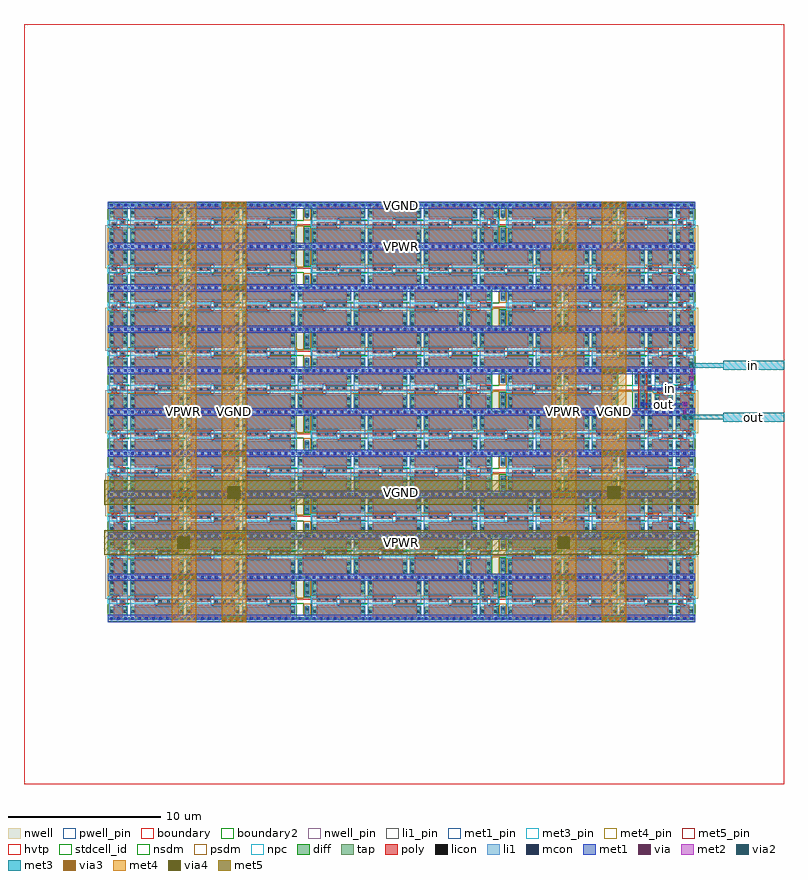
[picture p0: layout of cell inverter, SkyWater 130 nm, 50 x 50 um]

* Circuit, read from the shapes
.subckt inverter VGND VPWR in out
XM1 VGND VPWR VGND VGND sky130_fd_pr__nfet_01v8 w=0.55 l=0.59 m=23
XM2 VGND VPWR VGND VGND sky130_fd_pr__nfet_01v8 w=0.55 l=2.89 m=89
XM3 VGND VPWR VGND VGND sky130_fd_pr__nfet_01v8 w=0.55 l=1.05 m=8
XM4 out in VGND VGND sky130_fd_pr__nfet_01v8 w=0.65 l=0.15 m=2
XM5 VPWR VGND VPWR VPWR sky130_fd_pr__pfet_01v8_hvt w=0.87 l=0.59 m=23
XM6 VPWR VGND VPWR VPWR sky130_fd_pr__pfet_01v8_hvt w=0.87 l=2.89 m=89
XM7 VPWR VGND VPWR VPWR sky130_fd_pr__pfet_01v8_hvt w=0.87 l=1.05 m=8
XM8 out in VPWR VPWR sky130_fd_pr__pfet_01v8_hvt w=1 l=0.15 m=2
.ends

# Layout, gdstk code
from math import pi, radians
import gdstk
lib = gdstk.Library(unit=1e-6, precision=1e-09)
def R(c, l, rs):  # rectangles x0, y0, x1, y1
    for r in rs: c.add(gdstk.rectangle(r[:2], r[2:], *l))
def A(c, l, x, y, w, h, nx, ny, dx, dy):  # array of equal rectangles
    R(c, l, [(x+i*dx, y+j*dy, x+i*dx+w, y+j*dy+h) for i in range(nx) for j in range(ny)])
def P(c, l, *ps):  # polygons
    for p in ps: c.add(gdstk.Polygon(p, *l))
nwell_pin = (64, 16)
nwell = (64, 20)
diff = (65, 20)
tap = (65, 44)
poly = (66, 20)
licon = (66, 44)
li1_pin = (67, 16)
li1 = (67, 20)
mcon = (67, 44)
met1_pin = (68, 16)
met1 = (68, 20)
via = (68, 44)
met2 = (69, 20)
via2 = (69, 44)
met3_pin = (70, 16)
met3 = (70, 20)
via3 = (70, 44)
met4_pin = (71, 16)
met4 = (71, 20)
via4 = (71, 44)
met5_pin = (72, 16)
met5 = (72, 20)
hvtp = (78, 44)
stdcell_id = (81, 4)
nsdm = (93, 44)
psdm = (94, 20)
npc = (95, 20)
pwell_pin = (122, 16)
boundary = (235, 4)
boundary2 = (236, 0)

sky130_fd_sc_hd__decap_8 = lib.new_cell('sky130_fd_sc_hd__decap_8')
R(sky130_fd_sc_hd__decap_8, nwell_pin, [(0.145,2.635,0.315,2.805)])
R(sky130_fd_sc_hd__decap_8, nwell, [(-0.19,1.305,3.87,2.91)])
R(sky130_fd_sc_hd__decap_8, diff, [(0.135,0.235,3.545,0.785), (0.135,1.615,3.545,2.485)])
P(sky130_fd_sc_hd__decap_8, poly, [(3.285,2.615),(0.395,2.615),(0.395,1.125),(1.715,1.125),(1.715,1.485),(3.285,1.485)],
  [(3.285,1.275),(1.925,1.275),(1.925,0.915),(0.395,0.915),(0.395,0.105),(3.285,0.105)])
A(sky130_fd_sc_hd__decap_8, licon, 2.005, 1.025, 0.17, 0.17, 3, 1, 0.515, 0)
A(sky130_fd_sc_hd__decap_8, licon, 0.475, 1.205, 0.17, 0.17, 3, 1, 0.495, 0)
R(sky130_fd_sc_hd__decap_8, licon, [(0.175,0.39,0.345,0.56), (3.335,0.39,3.505,0.56), (0.175,1.745,0.345,1.915), (3.335,1.745,3.505,1.915), (0.175,2.255,0.345,2.425), (3.335,2.255,3.505,2.425)])
P(sky130_fd_sc_hd__decap_8, li1, [(3.68,0.085),(3.595,0.085),(3.595,0.855),(1.735,0.855),(1.735,1.375),(0.085,1.375),(0.085,0.085),(0,0.085),(0,-0.085),(3.68,-0.085)],
  [(3.68,2.805),(0,2.805),(0,2.635),(0.085,2.635),(0.085,1.545),(1.905,1.545),(1.905,1.025),(3.595,1.025),(3.595,2.635),(3.68,2.635)])
A(sky130_fd_sc_hd__decap_8, mcon, 0.145, -0.085, 0.17, 0.17, 8, 2, 0.46, 2.72)
R(sky130_fd_sc_hd__decap_8, met1_pin, [(0.145,-0.085,0.315,0.085), (0.145,2.635,0.315,2.805)])
R(sky130_fd_sc_hd__decap_8, hvtp, [(0,1.25,3.68,2.72)])
R(sky130_fd_sc_hd__decap_8, stdcell_id, [(0,0,3.68,2.72)])
R(sky130_fd_sc_hd__decap_8, nsdm, [(0,-0.19,3.68,1.015)])
R(sky130_fd_sc_hd__decap_8, psdm, [(0,1.485,3.68,2.91)])
P(sky130_fd_sc_hd__decap_8, npc, [(3.68,1.345),(1.735,1.345),(1.735,1.475),(0,1.475),(0,0.975),(1.905,0.975),(1.905,0.925),(3.68,0.925)])
R(sky130_fd_sc_hd__decap_8, pwell_pin, [(0.145,-0.085,0.315,0.085)])
R(sky130_fd_sc_hd__decap_8, boundary2, [(0,0,3.68,2.72)])
sky130_fd_sc_hd__decap_8.add(gdstk.FlexPath([(0,2.72),(3.68,2.72)], 0.48, ends="flush", simple_path=True, layer=68, datatype=20))  # met1
sky130_fd_sc_hd__decap_8.add(gdstk.FlexPath([(0,0),(3.68,0)], 0.48, ends="flush", simple_path=True, layer=68, datatype=20))  # met1
sky130_fd_sc_hd__decap_8.add(gdstk.Label('VPWR', (0.23,2.72), layer=68, texttype=5))
sky130_fd_sc_hd__decap_8.add(gdstk.Label('VGND', (0.23,0), layer=68, texttype=5))
sky130_fd_sc_hd__decap_8.add(gdstk.Label('VPB', (0.23,2.72), layer=64, texttype=5))
sky130_fd_sc_hd__decap_8.add(gdstk.Label('VNB', (0.23,0), layer=64, texttype=59))
sky130_fd_sc_hd__decap_8.add(gdstk.Label('decap_8', (0,0), layer=83, texttype=44))

sky130_fd_sc_hd__decap_3 = lib.new_cell('sky130_fd_sc_hd__decap_3')
R(sky130_fd_sc_hd__decap_3, nwell_pin, [(0.145,2.635,0.315,2.805)])
R(sky130_fd_sc_hd__decap_3, nwell, [(-0.19,1.305,1.57,2.91)])
R(sky130_fd_sc_hd__decap_3, diff, [(0.135,0.235,1.245,0.785), (0.135,1.615,1.245,2.485)])
P(sky130_fd_sc_hd__decap_3, poly, [(1.125,1.255),(0.795,1.255),(0.795,0.915),(0.395,0.915),(0.395,0.105),(0.985,0.105),(0.985,0.925),(1.125,0.925)],
  [(0.985,2.615),(0.395,2.615),(0.395,1.455),(0.255,1.455),(0.255,1.125),(0.585,1.125),(0.585,1.465),(0.985,1.465)])
R(sky130_fd_sc_hd__decap_3, licon, [(0.175,0.4,0.345,0.57), (1.035,0.4,1.205,0.57), (0.875,1.005,1.045,1.175), (0.335,1.205,0.505,1.375), (0.175,1.78,0.345,1.95), (1.035,1.78,1.205,1.95), (0.175,2.255,0.345,2.425), (1.035,2.255,1.205,2.425)])
P(sky130_fd_sc_hd__decap_3, li1, [(1.38,2.805),(0,2.805),(0,2.635),(0.085,2.635),(0.085,1.545),(0.775,1.545),(0.775,1.005),(1.295,1.005),(1.295,2.635),(1.38,2.635)],
  [(1.38,0.085),(1.295,0.085),(1.295,0.835),(0.605,0.835),(0.605,1.375),(0.085,1.375),(0.085,0.085),(0,0.085),(0,-0.085),(1.38,-0.085)])
A(sky130_fd_sc_hd__decap_3, mcon, 0.145, -0.085, 0.17, 0.17, 3, 2, 0.46, 2.72)
R(sky130_fd_sc_hd__decap_3, met1_pin, [(0.145,-0.085,0.315,0.085), (0.145,2.635,0.315,2.805)])
R(sky130_fd_sc_hd__decap_3, hvtp, [(0,1.25,1.38,2.72)])
R(sky130_fd_sc_hd__decap_3, stdcell_id, [(0,0,1.38,2.72)])
R(sky130_fd_sc_hd__decap_3, nsdm, [(0,-0.19,1.38,1.015)])
R(sky130_fd_sc_hd__decap_3, psdm, [(0,1.485,1.38,2.91)])
P(sky130_fd_sc_hd__decap_3, npc, [(1.38,1.345),(0.605,1.345),(0.605,1.475),(0,1.475),(0,0.975),(0.775,0.975),(0.775,0.905),(1.38,0.905)])
R(sky130_fd_sc_hd__decap_3, pwell_pin, [(0.145,-0.085,0.315,0.085)])
R(sky130_fd_sc_hd__decap_3, boundary2, [(0,0,1.38,2.72)])
sky130_fd_sc_hd__decap_3.add(gdstk.FlexPath([(0,2.72),(1.38,2.72)], 0.48, ends="flush", simple_path=True, layer=68, datatype=20))  # met1
sky130_fd_sc_hd__decap_3.add(gdstk.FlexPath([(0,0),(1.38,0)], 0.48, ends="flush", simple_path=True, layer=68, datatype=20))  # met1
sky130_fd_sc_hd__decap_3.add(gdstk.Label('VPWR', (0.23,2.72), layer=68, texttype=5))
sky130_fd_sc_hd__decap_3.add(gdstk.Label('VGND', (0.23,0), layer=68, texttype=5))
sky130_fd_sc_hd__decap_3.add(gdstk.Label('VPB', (0.23,2.72), layer=64, texttype=5))
sky130_fd_sc_hd__decap_3.add(gdstk.Label('VNB', (0.23,0), layer=64, texttype=59))
sky130_fd_sc_hd__decap_3.add(gdstk.Label('decap_3', (0,0), layer=83, texttype=44))

sky130_fd_sc_hd__fill_1 = lib.new_cell('sky130_fd_sc_hd__fill_1')
R(sky130_fd_sc_hd__fill_1, nwell_pin, [(0.155,2.67,0.255,2.755)])
R(sky130_fd_sc_hd__fill_1, nwell, [(-0.19,1.305,0.65,2.91)])
R(sky130_fd_sc_hd__fill_1, mcon, [(0.145,-0.085,0.315,0.085), (0.145,2.635,0.315,2.805)])
R(sky130_fd_sc_hd__fill_1, met1_pin, [(0.11,-0.065,0.29,0.08), (0.11,2.635,0.29,2.785)])
R(sky130_fd_sc_hd__fill_1, hvtp, [(0,1.25,0.46,2.72)])
R(sky130_fd_sc_hd__fill_1, stdcell_id, [(0,0,0.46,2.72)])
R(sky130_fd_sc_hd__fill_1, nsdm, [(0,-0.19,0.46,1.015)])
R(sky130_fd_sc_hd__fill_1, psdm, [(0,1.355,0.46,2.91)])
R(sky130_fd_sc_hd__fill_1, pwell_pin, [(0.14,-0.055,0.26,0.055)])
sky130_fd_sc_hd__fill_1.add(gdstk.FlexPath([(0,0),(0.46,0)], 0.17, ends="flush", simple_path=True, layer=67, datatype=20))  # li1
sky130_fd_sc_hd__fill_1.add(gdstk.FlexPath([(0,2.72),(0.46,2.72)], 0.17, ends="flush", simple_path=True, layer=67, datatype=20))  # li1
sky130_fd_sc_hd__fill_1.add(gdstk.FlexPath([(0,2.72),(0.46,2.72)], 0.48, ends="flush", simple_path=True, layer=68, datatype=20))  # met1
sky130_fd_sc_hd__fill_1.add(gdstk.FlexPath([(0,0),(0.46,0)], 0.48, ends="flush", simple_path=True, layer=68, datatype=20))  # met1
sky130_fd_sc_hd__fill_1.add(gdstk.Label('VPWR', (0.205,2.72), layer=68, texttype=5))
sky130_fd_sc_hd__fill_1.add(gdstk.Label('VGND', (0.205,0), layer=68, texttype=5))
sky130_fd_sc_hd__fill_1.add(gdstk.Label('VPB', (0.23,2.72), layer=64, texttype=5))
sky130_fd_sc_hd__fill_1.add(gdstk.Label('VNB', (0.23,0), layer=64, texttype=59))
sky130_fd_sc_hd__fill_1.add(gdstk.Label('fill_1', (0,0), layer=83, texttype=44))

sky130_fd_sc_hd__tapvpwr = lib.new_cell('sky130_fd_sc_hd__tapvpwrvgnd_1')
R(sky130_fd_sc_hd__tapvpwr, nwell, [(-0.19,1.305,0.65,2.91)])
R(sky130_fd_sc_hd__tapvpwr, tap, [(0.145,0.32,0.315,0.845), (0.145,1.525,0.315,2.4)])
R(sky130_fd_sc_hd__tapvpwr, licon, [(0.145,0.555,0.315,0.725), (0.145,1.645,0.315,1.815), (0.145,2.11,0.315,2.28)])
R(sky130_fd_sc_hd__tapvpwr, li1, [(0,-0.085,0.46,0.085), (0.085,0,0.375,0.81), (0.085,1.47,0.375,2.72), (0,2.635,0.46,2.805)])
R(sky130_fd_sc_hd__tapvpwr, mcon, [(0.145,-0.085,0.315,0.085), (0.145,2.635,0.315,2.805)])
R(sky130_fd_sc_hd__tapvpwr, met1_pin, [(0.105,-0.09,0.36,0.1), (0.11,2.62,0.375,2.765)])
R(sky130_fd_sc_hd__tapvpwr, met1, [(0,-0.24,0.46,0.24), (0,2.48,0.46,2.96)])
R(sky130_fd_sc_hd__tapvpwr, hvtp, [(0,1.25,0.46,2.72)])
R(sky130_fd_sc_hd__tapvpwr, stdcell_id, [(0,0,0.46,2.72)])
R(sky130_fd_sc_hd__tapvpwr, nsdm, [(0,-0.19,0.46,0.19), (0,1.395,0.46,2.53)])
R(sky130_fd_sc_hd__tapvpwr, psdm, [(0,0.19,0.46,0.975), (0,2.53,0.46,2.91)])
sky130_fd_sc_hd__tapvpwr.add(gdstk.Label('VPWR', (0.23,2.72), layer=68, texttype=5))
sky130_fd_sc_hd__tapvpwr.add(gdstk.Label('VGND', (0.23,0), layer=68, texttype=5))
sky130_fd_sc_hd__tapvpwr.add(gdstk.Label('tapvpwrvgnd_1', (0,0), layer=83, texttype=44))

sky130_fd_sc_hd__decap_4 = lib.new_cell('sky130_fd_sc_hd__decap_4')
R(sky130_fd_sc_hd__decap_4, nwell_pin, [(0.145,2.635,0.315,2.805)])
R(sky130_fd_sc_hd__decap_4, nwell, [(-0.19,1.305,2.03,2.91)])
R(sky130_fd_sc_hd__decap_4, diff, [(0.135,0.235,1.705,0.785), (0.135,1.615,1.705,2.485)])
P(sky130_fd_sc_hd__decap_4, poly, [(1.445,2.615),(0.395,2.615),(0.395,1.455),(0.105,1.455),(0.105,1.125),(0.815,1.125),(0.815,1.485),(1.445,1.485)],
  [(1.735,1.275),(1.025,1.275),(1.025,0.915),(0.395,0.915),(0.395,0.105),(1.445,0.105),(1.445,0.945),(1.735,0.945)])
R(sky130_fd_sc_hd__decap_4, licon, [(0.175,0.425,0.345,0.595), (1.495,0.425,1.665,0.595), (1.485,1.025,1.655,1.195), (0.185,1.205,0.355,1.375), (0.175,1.745,0.345,1.915), (1.495,1.745,1.665,1.915), (0.175,2.255,0.345,2.425), (1.495,2.255,1.665,2.425)])
P(sky130_fd_sc_hd__decap_4, li1, [(1.84,2.805),(0,2.805),(0,2.635),(0.085,2.635),(0.085,1.545),(1.005,1.545),(1.005,1.025),(1.755,1.025),(1.755,2.635),(1.84,2.635)],
  [(1.84,0.085),(1.755,0.085),(1.755,0.855),(0.835,0.855),(0.835,1.375),(0.085,1.375),(0.085,0.085),(0,0.085),(0,-0.085),(1.84,-0.085)])
A(sky130_fd_sc_hd__decap_4, mcon, 0.145, -0.085, 0.17, 0.17, 4, 2, 0.46, 2.72)
R(sky130_fd_sc_hd__decap_4, met1_pin, [(0.145,-0.085,0.315,0.085), (0.145,2.635,0.315,2.805)])
R(sky130_fd_sc_hd__decap_4, hvtp, [(0,1.25,1.84,2.72)])
R(sky130_fd_sc_hd__decap_4, stdcell_id, [(0,0,1.84,2.72)])
R(sky130_fd_sc_hd__decap_4, nsdm, [(0,-0.19,1.84,1.015)])
R(sky130_fd_sc_hd__decap_4, psdm, [(0,1.485,1.84,2.91)])
P(sky130_fd_sc_hd__decap_4, npc, [(1.84,1.345),(0.455,1.345),(0.455,1.475),(0,1.475),(0,0.975),(1.385,0.975),(1.385,0.925),(1.84,0.925)])
R(sky130_fd_sc_hd__decap_4, pwell_pin, [(0.145,-0.085,0.315,0.085)])
R(sky130_fd_sc_hd__decap_4, boundary2, [(0,0,1.84,2.72)])
sky130_fd_sc_hd__decap_4.add(gdstk.FlexPath([(0,2.72),(1.84,2.72)], 0.48, ends="flush", simple_path=True, layer=68, datatype=20))  # met1
sky130_fd_sc_hd__decap_4.add(gdstk.FlexPath([(0,0),(1.84,0)], 0.48, ends="flush", simple_path=True, layer=68, datatype=20))  # met1
sky130_fd_sc_hd__decap_4.add(gdstk.Label('VGND', (0.23,0), layer=68, texttype=5))
sky130_fd_sc_hd__decap_4.add(gdstk.Label('VPWR', (0.23,2.72), layer=68, texttype=5))
sky130_fd_sc_hd__decap_4.add(gdstk.Label('VPB', (0.23,2.72), layer=64, texttype=5))
sky130_fd_sc_hd__decap_4.add(gdstk.Label('VNB', (0.23,0), layer=64, texttype=59))
sky130_fd_sc_hd__decap_4.add(gdstk.Label('decap_4', (0,0), layer=83, texttype=44))

sky130_fd_sc_hd__fill_2 = lib.new_cell('sky130_fd_sc_hd__fill_2')
R(sky130_fd_sc_hd__fill_2, nwell_pin, [(0.14,2.675,0.31,2.765)])
R(sky130_fd_sc_hd__fill_2, nwell, [(-0.19,1.305,1.11,2.91)])
R(sky130_fd_sc_hd__fill_2, mcon, [(0.145,-0.085,0.315,0.085), (0.605,-0.085,0.775,0.085), (0.145,2.635,0.315,2.805), (0.605,2.635,0.775,2.805)])
R(sky130_fd_sc_hd__fill_2, met1_pin, [(0.1,-0.07,0.365,0.09), (0.105,2.65,0.365,2.805)])
R(sky130_fd_sc_hd__fill_2, hvtp, [(0,1.25,0.92,2.72)])
R(sky130_fd_sc_hd__fill_2, stdcell_id, [(0,0,0.92,2.72)])
R(sky130_fd_sc_hd__fill_2, nsdm, [(0,-0.19,0.92,1.015)])
R(sky130_fd_sc_hd__fill_2, psdm, [(0,1.355,0.92,2.91)])
R(sky130_fd_sc_hd__fill_2, pwell_pin, [(0.155,-0.05,0.315,0.06)])
sky130_fd_sc_hd__fill_2.add(gdstk.FlexPath([(0,0),(0.92,0)], 0.17, ends="flush", simple_path=True, layer=67, datatype=20))  # li1
sky130_fd_sc_hd__fill_2.add(gdstk.FlexPath([(0,2.72),(0.92,2.72)], 0.17, ends="flush", simple_path=True, layer=67, datatype=20))  # li1
sky130_fd_sc_hd__fill_2.add(gdstk.FlexPath([(0,2.72),(0.92,2.72)], 0.48, ends="flush", simple_path=True, layer=68, datatype=20))  # met1
sky130_fd_sc_hd__fill_2.add(gdstk.FlexPath([(0,0),(0.92,0)], 0.48, ends="flush", simple_path=True, layer=68, datatype=20))  # met1
sky130_fd_sc_hd__fill_2.add(gdstk.Label('VGND', (0.23,0), layer=68, texttype=5))
sky130_fd_sc_hd__fill_2.add(gdstk.Label('VPWR', (0.23,2.72), layer=68, texttype=5))
sky130_fd_sc_hd__fill_2.add(gdstk.Label('VPB', (0.23,2.72), layer=64, texttype=5))
sky130_fd_sc_hd__fill_2.add(gdstk.Label('VNB', (0.23,0), layer=64, texttype=59))
sky130_fd_sc_hd__fill_2.add(gdstk.Label('fill_2', (0,0), layer=83, texttype=44))

sky130_fd_sc_hd__inv_2 = lib.new_cell('sky130_fd_sc_hd__inv_2')
R(sky130_fd_sc_hd__inv_2, nwell_pin, [(0.145,2.635,0.315,2.805)])
R(sky130_fd_sc_hd__inv_2, nwell, [(-0.19,1.305,1.57,2.91)])
R(sky130_fd_sc_hd__inv_2, diff, [(0.145,0.235,1.235,0.885), (0.145,1.485,1.235,2.485)])
P(sky130_fd_sc_hd__inv_2, poly, [(0.975,2.615),(0.825,2.615),(0.825,1.325),(0.555,1.325),(0.555,2.615),(0.405,2.615),(0.405,1.325),(0.105,1.325),(0.105,0.995),(0.405,0.995),(0.405,0.105),(0.555,0.105),(0.555,0.995),(0.825,0.995),(0.825,0.105),(0.975,0.105)])
A(sky130_fd_sc_hd__inv_2, licon, 0.185, 0.295, 0.17, 0.17, 3, 2, 0.42, 0.36)
A(sky130_fd_sc_hd__inv_2, licon, 0.185, 1.575, 0.17, 0.17, 3, 3, 0.42, 0.34)
R(sky130_fd_sc_hd__inv_2, licon, [(0.185,1.075,0.355,1.245)])
A(sky130_fd_sc_hd__inv_2, li1_pin, 0.605, 0.765, 0.17, 0.17, 1, 3, 0, 0.34)
R(sky130_fd_sc_hd__inv_2, li1_pin, [(0.145,1.105,0.315,1.275)])
R(sky130_fd_sc_hd__inv_2, li1, [(0.105,1.075,0.435,1.325)])
P(sky130_fd_sc_hd__inv_2, li1, [(1.38,2.805),(0,2.805),(0,2.635),(0.125,2.635),(0.125,1.495),(0.355,1.495),(0.355,2.635),(1.025,2.635),(1.025,1.495),(1.235,1.495),(1.235,2.635),(1.38,2.635)],
  [(0.855,2.465),(0.525,2.465),(0.525,1.485),(0.605,1.485),(0.605,0.885),(0.525,0.885),(0.525,0.255),(0.855,0.255)],
  [(1.38,0.085),(1.235,0.085),(1.235,0.905),(1.025,0.905),(1.025,0.085),(0.355,0.085),(0.355,0.905),(0.125,0.905),(0.125,0.085),(0,0.085),(0,-0.085),(1.38,-0.085)])
A(sky130_fd_sc_hd__inv_2, mcon, 0.145, -0.085, 0.17, 0.17, 3, 2, 0.46, 2.72)
R(sky130_fd_sc_hd__inv_2, met1_pin, [(0.145,-0.085,0.315,0.085), (0.145,2.635,0.315,2.805)])
R(sky130_fd_sc_hd__inv_2, hvtp, [(0,1.25,1.38,2.72)])
R(sky130_fd_sc_hd__inv_2, stdcell_id, [(0,0,1.38,2.72)])
R(sky130_fd_sc_hd__inv_2, nsdm, [(0,-0.19,1.38,1.015)])
R(sky130_fd_sc_hd__inv_2, psdm, [(0,1.355,1.38,2.91)])
R(sky130_fd_sc_hd__inv_2, npc, [(0,0.975,1.38,1.345)])
R(sky130_fd_sc_hd__inv_2, pwell_pin, [(0.145,-0.085,0.315,0.085)])
R(sky130_fd_sc_hd__inv_2, boundary2, [(0,0,1.38,2.72)])
sky130_fd_sc_hd__inv_2.add(gdstk.FlexPath([(0,2.72),(1.38,2.72)], 0.48, ends="flush", simple_path=True, layer=68, datatype=20))  # met1
sky130_fd_sc_hd__inv_2.add(gdstk.FlexPath([(0,0),(1.38,0)], 0.48, ends="flush", simple_path=True, layer=68, datatype=20))  # met1
sky130_fd_sc_hd__inv_2.add(gdstk.Label('A', (0.23,1.19), layer=67, texttype=5))
sky130_fd_sc_hd__inv_2.add(gdstk.Label('Y', (0.69,0.85), layer=67, texttype=5))
sky130_fd_sc_hd__inv_2.add(gdstk.Label('Y', (0.69,1.53), layer=67, texttype=5))
sky130_fd_sc_hd__inv_2.add(gdstk.Label('Y', (0.69,1.19), layer=67, texttype=5))
sky130_fd_sc_hd__inv_2.add(gdstk.Label('VPB', (0.23,2.72), layer=64, texttype=5))
sky130_fd_sc_hd__inv_2.add(gdstk.Label('VNB', (0.23,0), layer=64, texttype=59))
sky130_fd_sc_hd__inv_2.add(gdstk.Label('VPWR', (0.23,2.72), layer=68, texttype=5))
sky130_fd_sc_hd__inv_2.add(gdstk.Label('VGND', (0.23,0), layer=68, texttype=5))
sky130_fd_sc_hd__inv_2.add(gdstk.Label('inv_2', (0,0), layer=83, texttype=44))

inverter = lib.new_cell('inverter')
R(inverter, li1, [(40.625,24.905,40.795,25.075), (41.085,25.925,41.255,26.095)])
R(inverter, mcon, [(40.625,24.905,40.795,25.075), (41.085,25.925,41.255,26.095)])
A(inverter, met1, 5.52, 10.64, 38.64, 0.48, 1, 11, 0, 2.72)
R(inverter, met1, [(43.31,24.86,43.63,24.92), (40.565,24.875,40.855,24.92), (40.565,24.92,43.63,25.06), (40.565,25.06,40.855,25.105), (43.31,25.06,43.63,25.12), (41.025,25.895,41.315,25.94), (41.025,25.94,44,26.08), (41.025,26.08,41.315,26.125), (43.86,26.08,44,26.56), (43.77,26.56,44.09,26.82)])
A(inverter, via, 13.105, 10.805, 0.15, 0.15, 5, 6, 0.32, 5.44)
A(inverter, via, 38.105, 10.805, 0.15, 0.15, 5, 6, 0.32, 5.44)
A(inverter, via, 9.805, 13.525, 0.15, 0.15, 5, 5, 0.32, 5.44)
A(inverter, via, 34.805, 13.525, 0.15, 0.15, 5, 5, 0.32, 5.44)
R(inverter, via, [(43.395,24.915,43.545,25.065), (43.855,26.615,44.005,26.765)])
A(inverter, met2, 13.05, 10.695, 1.54, 0.37, 1, 6, 0, 5.44)
A(inverter, met2, 38.05, 10.695, 1.54, 0.37, 1, 6, 0, 5.44)
A(inverter, met2, 9.75, 13.415, 1.54, 0.37, 1, 5, 0, 5.44)
A(inverter, met2, 34.75, 13.415, 1.54, 0.37, 1, 5, 0, 5.44)
R(inverter, met2, [(43.33,23.955,43.61,24.325), (43.4,24.325,43.54,24.83), (43.34,24.83,43.6,25.15), (43.8,26.53,44.06,26.85), (43.86,26.85,44,27.355), (43.79,27.355,44.07,27.725)])
A(inverter, via2, 13.12, 10.78, 0.2, 0.2, 4, 6, 0.4, 5.44)
A(inverter, via2, 38.12, 10.78, 0.2, 0.2, 4, 6, 0.4, 5.44)
A(inverter, via2, 9.82, 13.5, 0.2, 0.2, 4, 5, 0.4, 5.44)
A(inverter, via2, 34.82, 13.5, 0.2, 0.2, 4, 5, 0.4, 5.44)
R(inverter, via2, [(43.37,24.04,43.57,24.24), (43.83,27.44,44.03,27.64)])
R(inverter, met3_pin, [(46,23.84,50,24.44), (46,27.24,50,27.84)])
A(inverter, met3, 13.03, 10.715, 1.58, 0.33, 1, 6, 0, 5.44)
A(inverter, met3, 38.03, 10.715, 1.58, 0.33, 1, 6, 0, 5.44)
A(inverter, met3, 9.73, 13.435, 1.58, 0.33, 1, 5, 0, 5.44)
A(inverter, met3, 34.73, 13.435, 1.58, 0.33, 1, 5, 0, 5.44)
R(inverter, met3, [(46,23.84,50,23.99), (43.305,23.975,43.635,23.99), (43.305,23.99,50,24.29), (43.305,24.29,43.635,24.305), (46,24.29,50,24.44), (46,27.24,50,27.39), (43.765,27.375,44.095,27.39), (43.765,27.39,50,27.69), (43.765,27.69,44.095,27.705), (46,27.69,50,27.84)])
A(inverter, via3, 13.12, 10.78, 0.2, 0.2, 4, 6, 0.4, 5.44)
A(inverter, via3, 38.12, 10.78, 0.2, 0.2, 4, 6, 0.4, 5.44)
A(inverter, via3, 9.82, 13.5, 0.2, 0.2, 4, 5, 0.4, 5.44)
A(inverter, via3, 34.82, 13.5, 0.2, 0.2, 4, 5, 0.4, 5.44)
R(inverter, met4_pin, [(9.72,10.64,11.32,38.32), (13.02,10.64,14.62,38.32), (34.72,10.64,36.32,38.32), (38.02,10.64,39.62,38.32)])
R(inverter, met4, [(9.72,10.64,11.32,38.32), (13.02,10.64,14.62,38.32), (34.72,10.64,36.32,38.32), (38.02,10.64,39.62,38.32)])
R(inverter, via4, [(10.12,15.48,10.92,16.28), (35.12,15.48,35.92,16.28), (13.42,18.78,14.22,19.58), (38.42,18.78,39.22,19.58)])
R(inverter, met5_pin, [(5.28,15.08,44.4,16.68), (5.28,18.38,44.4,19.98)])
R(inverter, met5, [(5.28,15.08,44.4,16.68), (5.28,18.38,44.4,19.98)])
R(inverter, boundary, [(0,0,50,50)])
inverter.add(gdstk.Reference(sky130_fd_sc_hd__decap_8, (6.9,10.88)))
inverter.add(gdstk.Reference(sky130_fd_sc_hd__decap_8, (6.9,16.32), x_reflection=True))
inverter.add(gdstk.Reference(sky130_fd_sc_hd__decap_3, (5.52,10.88)))
inverter.add(gdstk.Reference(sky130_fd_sc_hd__decap_3, (5.52,16.32), x_reflection=True))
inverter.add(gdstk.Reference(sky130_fd_sc_hd__decap_8, (10.58,10.88)))
inverter.add(gdstk.Reference(sky130_fd_sc_hd__decap_8, (10.58,16.32), x_reflection=True))
inverter.add(gdstk.Reference(sky130_fd_sc_hd__decap_8, (14.26,10.88)))
inverter.add(gdstk.Reference(sky130_fd_sc_hd__decap_8, (14.26,16.32), x_reflection=True))
inverter.add(gdstk.Reference(sky130_fd_sc_hd__fill_1, (17.94,10.88)))
inverter.add(gdstk.Reference(sky130_fd_sc_hd__decap_8, (18.86,10.88)))
inverter.add(gdstk.Reference(sky130_fd_sc_hd__decap_8, (17.94,16.32), x_reflection=True))
inverter.add(gdstk.Reference(sky130_fd_sc_hd__decap_8, (21.62,16.32), x_reflection=True))
inverter.add(gdstk.Reference(sky130_fd_sc_hd__tapvpwr, (18.4,10.88)))
inverter.add(gdstk.Reference(sky130_fd_sc_hd__decap_8, (22.54,10.88)))
inverter.add(gdstk.Reference(sky130_fd_sc_hd__decap_8, (25.3,16.32), x_reflection=True))
inverter.add(gdstk.Reference(sky130_fd_sc_hd__decap_8, (26.22,10.88)))
inverter.add(gdstk.Reference(sky130_fd_sc_hd__decap_3, (29.9,10.88)))
inverter.add(gdstk.Reference(sky130_fd_sc_hd__decap_4, (28.98,16.32), x_reflection=True))
inverter.add(gdstk.Reference(sky130_fd_sc_hd__decap_8, (31.74,10.88)))
inverter.add(gdstk.Reference(sky130_fd_sc_hd__fill_1, (30.82,16.32), x_reflection=True))
inverter.add(gdstk.Reference(sky130_fd_sc_hd__decap_8, (31.74,16.32), x_reflection=True))
inverter.add(gdstk.Reference(sky130_fd_sc_hd__tapvpwr, (31.28,10.88)))
inverter.add(gdstk.Reference(sky130_fd_sc_hd__tapvpwr, (31.28,16.32), x_reflection=True))
inverter.add(gdstk.Reference(sky130_fd_sc_hd__decap_8, (35.42,10.88)))
inverter.add(gdstk.Reference(sky130_fd_sc_hd__decap_8, (35.42,16.32), x_reflection=True))
inverter.add(gdstk.Reference(sky130_fd_sc_hd__decap_8, (39.1,10.88)))
inverter.add(gdstk.Reference(sky130_fd_sc_hd__decap_8, (39.1,16.32), x_reflection=True))
inverter.add(gdstk.Reference(sky130_fd_sc_hd__decap_3, (44.16,10.88), rotation=pi, x_reflection=True))
inverter.add(gdstk.Reference(sky130_fd_sc_hd__decap_3, (44.16,16.32), rotation=pi))
inverter.add(gdstk.Reference(sky130_fd_sc_hd__decap_8, (6.9,16.32)))
inverter.add(gdstk.Reference(sky130_fd_sc_hd__decap_3, (5.52,16.32)))
inverter.add(gdstk.Reference(sky130_fd_sc_hd__decap_8, (10.58,16.32)))
inverter.add(gdstk.Reference(sky130_fd_sc_hd__decap_8, (14.26,16.32)))
inverter.add(gdstk.Reference(sky130_fd_sc_hd__fill_1, (17.94,16.32)))
inverter.add(gdstk.Reference(sky130_fd_sc_hd__decap_8, (18.86,16.32)))
inverter.add(gdstk.Reference(sky130_fd_sc_hd__tapvpwr, (18.4,16.32)))
inverter.add(gdstk.Reference(sky130_fd_sc_hd__decap_8, (22.54,16.32)))
inverter.add(gdstk.Reference(sky130_fd_sc_hd__decap_8, (26.22,16.32)))
inverter.add(gdstk.Reference(sky130_fd_sc_hd__decap_8, (29.9,16.32)))
inverter.add(gdstk.Reference(sky130_fd_sc_hd__decap_8, (33.58,16.32)))
inverter.add(gdstk.Reference(sky130_fd_sc_hd__decap_8, (37.26,16.32)))
inverter.add(gdstk.Reference(sky130_fd_sc_hd__decap_4, (40.94,16.32)))
inverter.add(gdstk.Reference(sky130_fd_sc_hd__decap_3, (44.16,16.32), rotation=pi, x_reflection=True))
inverter.add(gdstk.Reference(sky130_fd_sc_hd__decap_8, (6.9,21.76), x_reflection=True))
inverter.add(gdstk.Reference(sky130_fd_sc_hd__decap_3, (5.52,21.76), x_reflection=True))
inverter.add(gdstk.Reference(sky130_fd_sc_hd__decap_8, (10.58,21.76), x_reflection=True))
inverter.add(gdstk.Reference(sky130_fd_sc_hd__decap_8, (14.26,21.76), x_reflection=True))
inverter.add(gdstk.Reference(sky130_fd_sc_hd__decap_8, (17.94,21.76), x_reflection=True))
inverter.add(gdstk.Reference(sky130_fd_sc_hd__decap_8, (21.62,21.76), x_reflection=True))
inverter.add(gdstk.Reference(sky130_fd_sc_hd__decap_8, (25.3,21.76), x_reflection=True))
inverter.add(gdstk.Reference(sky130_fd_sc_hd__decap_4, (28.98,21.76), x_reflection=True))
inverter.add(gdstk.Reference(sky130_fd_sc_hd__fill_1, (30.82,21.76), x_reflection=True))
inverter.add(gdstk.Reference(sky130_fd_sc_hd__decap_8, (31.74,21.76), x_reflection=True))
inverter.add(gdstk.Reference(sky130_fd_sc_hd__tapvpwr, (31.28,21.76), x_reflection=True))
inverter.add(gdstk.Reference(sky130_fd_sc_hd__decap_8, (35.42,21.76), x_reflection=True))
inverter.add(gdstk.Reference(sky130_fd_sc_hd__decap_8, (39.1,21.76), x_reflection=True))
inverter.add(gdstk.Reference(sky130_fd_sc_hd__decap_3, (44.16,21.76), rotation=pi))
inverter.add(gdstk.Reference(sky130_fd_sc_hd__decap_8, (6.9,21.76)))
inverter.add(gdstk.Reference(sky130_fd_sc_hd__decap_3, (5.52,21.76)))
inverter.add(gdstk.Reference(sky130_fd_sc_hd__decap_8, (10.58,21.76)))
inverter.add(gdstk.Reference(sky130_fd_sc_hd__decap_8, (14.26,21.76)))
inverter.add(gdstk.Reference(sky130_fd_sc_hd__fill_1, (17.94,21.76)))
inverter.add(gdstk.Reference(sky130_fd_sc_hd__decap_8, (18.86,21.76)))
inverter.add(gdstk.Reference(sky130_fd_sc_hd__tapvpwr, (18.4,21.76)))
inverter.add(gdstk.Reference(sky130_fd_sc_hd__decap_8, (22.54,21.76)))
inverter.add(gdstk.Reference(sky130_fd_sc_hd__decap_8, (26.22,21.76)))
inverter.add(gdstk.Reference(sky130_fd_sc_hd__decap_8, (29.9,21.76)))
inverter.add(gdstk.Reference(sky130_fd_sc_hd__decap_8, (33.58,21.76)))
inverter.add(gdstk.Reference(sky130_fd_sc_hd__decap_8, (37.26,21.76)))
inverter.add(gdstk.Reference(sky130_fd_sc_hd__decap_4, (40.94,21.76)))
inverter.add(gdstk.Reference(sky130_fd_sc_hd__decap_3, (44.16,21.76), rotation=pi, x_reflection=True))
inverter.add(gdstk.Reference(sky130_fd_sc_hd__decap_8, (6.9,27.2), x_reflection=True))
inverter.add(gdstk.Reference(sky130_fd_sc_hd__decap_3, (5.52,27.2), x_reflection=True))
inverter.add(gdstk.Reference(sky130_fd_sc_hd__decap_8, (10.58,27.2), x_reflection=True))
inverter.add(gdstk.Reference(sky130_fd_sc_hd__decap_8, (14.26,27.2), x_reflection=True))
inverter.add(gdstk.Reference(sky130_fd_sc_hd__decap_8, (17.94,27.2), x_reflection=True))
inverter.add(gdstk.Reference(sky130_fd_sc_hd__decap_8, (21.62,27.2), x_reflection=True))
inverter.add(gdstk.Reference(sky130_fd_sc_hd__decap_8, (25.3,27.2), x_reflection=True))
inverter.add(gdstk.Reference(sky130_fd_sc_hd__decap_4, (28.98,27.2), x_reflection=True))
inverter.add(gdstk.Reference(sky130_fd_sc_hd__fill_1, (30.82,27.2), x_reflection=True))
inverter.add(gdstk.Reference(sky130_fd_sc_hd__decap_8, (31.74,27.2), x_reflection=True))
inverter.add(gdstk.Reference(sky130_fd_sc_hd__tapvpwr, (31.28,27.2), x_reflection=True))
inverter.add(gdstk.Reference(sky130_fd_sc_hd__decap_8, (35.42,27.2), x_reflection=True))
inverter.add(gdstk.Reference(sky130_fd_sc_hd__fill_2, (39.1,27.2), x_reflection=True))
inverter.add(gdstk.Reference(sky130_fd_sc_hd__decap_3, (41.4,27.2), x_reflection=True))
inverter.add(gdstk.Reference(sky130_fd_sc_hd__inv_2, (41.4,27.2), rotation=pi))
inverter.add(gdstk.Reference(sky130_fd_sc_hd__decap_3, (44.16,27.2), rotation=pi))
inverter.add(gdstk.Reference(sky130_fd_sc_hd__decap_8, (6.9,27.2)))
inverter.add(gdstk.Reference(sky130_fd_sc_hd__decap_8, (6.9,32.64), x_reflection=True))
inverter.add(gdstk.Reference(sky130_fd_sc_hd__decap_3, (5.52,27.2)))
inverter.add(gdstk.Reference(sky130_fd_sc_hd__decap_3, (5.52,32.64), x_reflection=True))
inverter.add(gdstk.Reference(sky130_fd_sc_hd__decap_8, (10.58,27.2)))
inverter.add(gdstk.Reference(sky130_fd_sc_hd__decap_8, (10.58,32.64), x_reflection=True))
inverter.add(gdstk.Reference(sky130_fd_sc_hd__decap_8, (14.26,27.2)))
inverter.add(gdstk.Reference(sky130_fd_sc_hd__decap_8, (14.26,32.64), x_reflection=True))
inverter.add(gdstk.Reference(sky130_fd_sc_hd__fill_1, (17.94,27.2)))
inverter.add(gdstk.Reference(sky130_fd_sc_hd__decap_8, (18.86,27.2)))
inverter.add(gdstk.Reference(sky130_fd_sc_hd__decap_8, (17.94,32.64), x_reflection=True))
inverter.add(gdstk.Reference(sky130_fd_sc_hd__decap_8, (21.62,32.64), x_reflection=True))
inverter.add(gdstk.Reference(sky130_fd_sc_hd__tapvpwr, (18.4,27.2)))
inverter.add(gdstk.Reference(sky130_fd_sc_hd__decap_8, (22.54,27.2)))
inverter.add(gdstk.Reference(sky130_fd_sc_hd__decap_8, (25.3,32.64), x_reflection=True))
inverter.add(gdstk.Reference(sky130_fd_sc_hd__decap_8, (26.22,27.2)))
inverter.add(gdstk.Reference(sky130_fd_sc_hd__decap_8, (29.9,27.2)))
inverter.add(gdstk.Reference(sky130_fd_sc_hd__decap_4, (28.98,32.64), x_reflection=True))
inverter.add(gdstk.Reference(sky130_fd_sc_hd__decap_8, (33.58,27.2)))
inverter.add(gdstk.Reference(sky130_fd_sc_hd__fill_1, (30.82,32.64), x_reflection=True))
inverter.add(gdstk.Reference(sky130_fd_sc_hd__decap_8, (31.74,32.64), x_reflection=True))
inverter.add(gdstk.Reference(sky130_fd_sc_hd__tapvpwr, (31.28,32.64), x_reflection=True))
inverter.add(gdstk.Reference(sky130_fd_sc_hd__decap_8, (37.26,27.2)))
inverter.add(gdstk.Reference(sky130_fd_sc_hd__decap_8, (35.42,32.64), x_reflection=True))
inverter.add(gdstk.Reference(sky130_fd_sc_hd__decap_4, (40.94,27.2)))
inverter.add(gdstk.Reference(sky130_fd_sc_hd__decap_8, (39.1,32.64), x_reflection=True))
inverter.add(gdstk.Reference(sky130_fd_sc_hd__decap_3, (44.16,27.2), rotation=pi, x_reflection=True))
inverter.add(gdstk.Reference(sky130_fd_sc_hd__decap_3, (44.16,32.64), rotation=pi))
inverter.add(gdstk.Reference(sky130_fd_sc_hd__decap_8, (6.9,32.64)))
inverter.add(gdstk.Reference(sky130_fd_sc_hd__decap_3, (5.52,32.64)))
inverter.add(gdstk.Reference(sky130_fd_sc_hd__decap_8, (10.58,32.64)))
inverter.add(gdstk.Reference(sky130_fd_sc_hd__decap_8, (14.26,32.64)))
inverter.add(gdstk.Reference(sky130_fd_sc_hd__fill_1, (17.94,32.64)))
inverter.add(gdstk.Reference(sky130_fd_sc_hd__decap_8, (18.86,32.64)))
inverter.add(gdstk.Reference(sky130_fd_sc_hd__tapvpwr, (18.4,32.64)))
inverter.add(gdstk.Reference(sky130_fd_sc_hd__decap_8, (22.54,32.64)))
inverter.add(gdstk.Reference(sky130_fd_sc_hd__decap_8, (26.22,32.64)))
inverter.add(gdstk.Reference(sky130_fd_sc_hd__decap_8, (29.9,32.64)))
inverter.add(gdstk.Reference(sky130_fd_sc_hd__decap_8, (33.58,32.64)))
inverter.add(gdstk.Reference(sky130_fd_sc_hd__decap_8, (37.26,32.64)))
inverter.add(gdstk.Reference(sky130_fd_sc_hd__decap_4, (40.94,32.64)))
inverter.add(gdstk.Reference(sky130_fd_sc_hd__decap_3, (44.16,32.64), rotation=pi, x_reflection=True))
inverter.add(gdstk.Reference(sky130_fd_sc_hd__decap_8, (6.9,38.08), x_reflection=True))
inverter.add(gdstk.Reference(sky130_fd_sc_hd__decap_3, (5.52,38.08), x_reflection=True))
inverter.add(gdstk.Reference(sky130_fd_sc_hd__decap_8, (10.58,38.08), x_reflection=True))
inverter.add(gdstk.Reference(sky130_fd_sc_hd__decap_8, (14.26,38.08), x_reflection=True))
inverter.add(gdstk.Reference(sky130_fd_sc_hd__fill_1, (17.94,38.08), x_reflection=True))
inverter.add(gdstk.Reference(sky130_fd_sc_hd__decap_8, (18.86,38.08), x_reflection=True))
inverter.add(gdstk.Reference(sky130_fd_sc_hd__tapvpwr, (18.4,38.08), x_reflection=True))
inverter.add(gdstk.Reference(sky130_fd_sc_hd__decap_8, (22.54,38.08), x_reflection=True))
inverter.add(gdstk.Reference(sky130_fd_sc_hd__decap_8, (26.22,38.08), x_reflection=True))
inverter.add(gdstk.Reference(sky130_fd_sc_hd__decap_3, (29.9,38.08), x_reflection=True))
inverter.add(gdstk.Reference(sky130_fd_sc_hd__decap_8, (31.74,38.08), x_reflection=True))
inverter.add(gdstk.Reference(sky130_fd_sc_hd__tapvpwr, (31.28,38.08), x_reflection=True))
inverter.add(gdstk.Reference(sky130_fd_sc_hd__decap_8, (35.42,38.08), x_reflection=True))
inverter.add(gdstk.Reference(sky130_fd_sc_hd__decap_8, (39.1,38.08), x_reflection=True))
inverter.add(gdstk.Reference(sky130_fd_sc_hd__decap_3, (44.16,38.08), rotation=pi))
inverter.add(gdstk.Label('VGND', (24.84,38.08), layer=68, texttype=5))
inverter.add(gdstk.Label('VPWR', (24.84,35.36), layer=68, texttype=5))
inverter.add(gdstk.Label('in', (42.55,26.01), layer=68, texttype=5))
inverter.add(gdstk.Label('out', (42.09,24.99), layer=68, texttype=5))
inverter.add(gdstk.Label('VGND', (13.82,24.48), layer=71, texttype=5))
inverter.add(gdstk.Label('VGND', (38.82,24.48), layer=71, texttype=5))
inverter.add(gdstk.Label('VGND', (24.84,19.18), layer=72, texttype=5))
inverter.add(gdstk.Label('VPWR', (10.52,24.48), layer=71, texttype=5))
inverter.add(gdstk.Label('VPWR', (24.84,15.88), layer=72, texttype=5))
inverter.add(gdstk.Label('VPWR', (35.52,24.48), layer=71, texttype=5))
inverter.add(gdstk.Label('in', (48,27.54), layer=70, texttype=5))
inverter.add(gdstk.Label('out', (48,24.14), layer=70, texttype=5))

lib.write_gds('inverter.gds')
